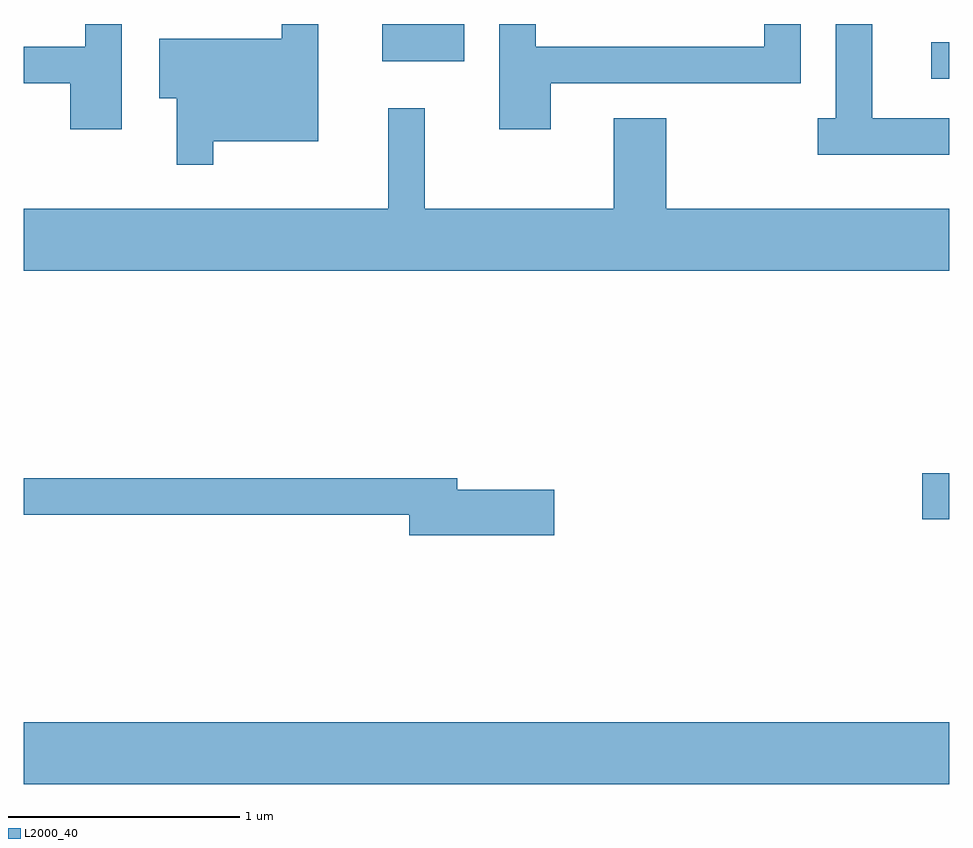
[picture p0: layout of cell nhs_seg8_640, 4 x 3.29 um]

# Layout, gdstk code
import gdstk
lib = gdstk.Library(unit=1e-6, precision=1e-09)
def R(c, l, rs):  # rectangles x0, y0, x1, y1
    for r in rs: c.add(gdstk.rectangle(r[:2], r[2:], *l))
def P(c, l, *ps):  # polygons
    for p in ps: c.add(gdstk.Polygon(p, *l))
L2000_40 = (2000, 40)

nhs_seg8_640 = lib.new_cell('nhs_seg8_640')
R(nhs_seg8_640, L2000_40, [(203.611,1863.056,207.611,1863.324), (207.496,1864.201,207.611,1864.399), (207.533,1866.106,207.611,1866.264), (205.161,1866.181,205.514,1866.342)])
P(nhs_seg8_640, L2000_40, [(207.611,1865.934),(207.279,1865.934),(207.279,1866.342),(207.121,1866.342),(207.121,1865.934),(207.043,1865.934),(207.043,1865.776),(207.611,1865.776)],
  [(204.429,1865.836),(204.884,1865.836),(204.884,1866.342),(204.726,1866.342),(204.726,1866.279),(204.196,1866.279),(204.196,1866.021),(204.271,1866.021),(204.271,1865.733),(204.429,1865.733)],
  [(204.034,1866.342),(203.876,1866.342),(203.876,1866.244),(203.611,1866.244),(203.611,1866.086),(203.811,1866.086),(203.811,1865.886),(204.034,1865.886)],
  [(205.889,1866.086),(206.969,1866.086),(206.969,1866.342),(206.811,1866.342),(206.811,1866.244),(205.824,1866.244),(205.824,1866.342),(205.666,1866.342),(205.666,1865.886),(205.889,1865.886)],
  [(207.611,1865.544),(206.389,1865.544),(206.389,1865.934),(206.161,1865.934),(206.161,1865.544),(205.344,1865.544),(205.344,1865.978),(205.186,1865.978),(205.186,1865.544),(203.611,1865.544),(203.611,1865.276),(207.611,1865.276)],
  [(205.904,1864.329),(205.484,1864.329),(205.484,1864.379),(203.611,1864.379),(203.611,1864.221),(205.276,1864.221),(205.276,1864.131),(205.904,1864.131)])

lib.write_gds('nhs_seg8_640.gds')
